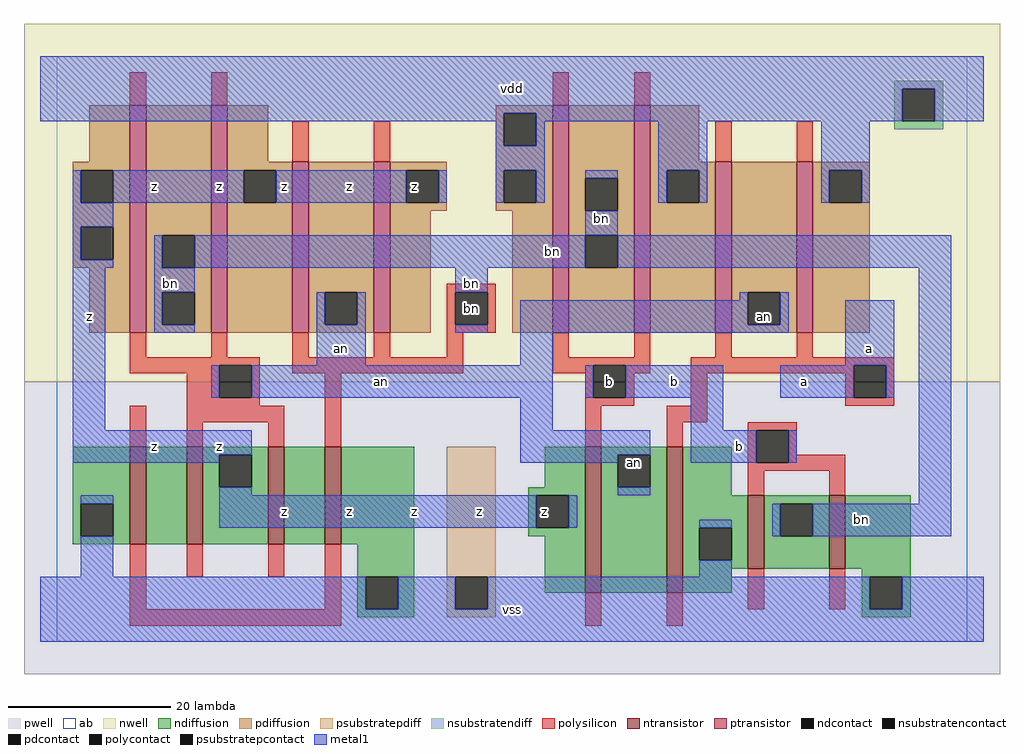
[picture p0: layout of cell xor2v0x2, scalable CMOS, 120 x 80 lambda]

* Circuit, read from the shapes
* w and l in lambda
.subckt xor2v0x2 a an b bn vdd vss z
M1 n1 bn vss vss nfet w=12 l=2
M2 z an n1 vss nfet w=12 l=2
M3 n2 an z vss nfet w=12 l=2
M4 vss bn n2 vss nfet w=12 l=2
M5 an b z vss nfet w=18 l=2
M6 vss a an vss nfet w=18 l=2
M7 bn b vss vss nfet w=9 l=2 m=2
M8 bn an z vdd pfet w=28 l=2 m=2
M9 an bn z vdd pfet w=21 l=2 m=2
M10 bn b vdd vdd pfet w=28 l=2 m=2
M11 an a vdd vdd pfet w=21 l=2 m=2
.ends

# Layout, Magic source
magic
tech scmos
<< ab >>
rect 0 0 112 72
<< pwell >>
rect -4 -4 116 32
<< nwell >>
rect -4 32 116 76
<< polysilicon >>
rect 9 66 11 70
rect 19 66 21 70
rect 61 66 63 70
rect 71 66 73 70
rect 29 59 31 64
rect 39 59 41 64
rect 48 43 54 44
rect 48 39 49 43
rect 53 39 54 43
rect 48 38 54 39
rect 81 59 83 64
rect 91 59 93 64
rect 9 35 11 38
rect 19 35 21 38
rect 29 35 31 38
rect 39 35 41 38
rect 48 35 50 38
rect 9 34 25 35
rect 9 33 20 34
rect 16 30 20 33
rect 24 30 25 34
rect 29 33 50 35
rect 61 35 63 38
rect 71 35 73 38
rect 81 35 83 38
rect 91 35 93 38
rect 61 34 73 35
rect 61 33 66 34
rect 16 29 25 30
rect 9 24 11 29
rect 16 27 28 29
rect 16 24 18 27
rect 26 24 28 27
rect 33 24 35 33
rect 65 30 66 33
rect 70 33 73 34
rect 78 34 103 35
rect 78 33 98 34
rect 70 30 71 33
rect 65 29 71 30
rect 78 29 80 33
rect 97 30 98 33
rect 102 30 103 34
rect 97 29 103 30
rect 65 24 67 29
rect 75 27 80 29
rect 75 24 77 27
rect 85 26 91 27
rect 9 4 11 12
rect 16 8 18 12
rect 26 8 28 12
rect 33 4 35 12
rect 9 2 35 4
rect 85 22 86 26
rect 90 23 91 26
rect 90 22 97 23
rect 85 21 97 22
rect 85 18 87 21
rect 95 18 97 21
rect 65 2 67 6
rect 75 2 77 6
rect 85 4 87 9
rect 95 4 97 9
<< ndiffusion >>
rect 2 17 9 24
rect 2 13 3 17
rect 7 13 9 17
rect 2 12 9 13
rect 11 12 16 24
rect 18 23 26 24
rect 18 19 20 23
rect 24 19 26 23
rect 18 12 26 19
rect 28 12 33 24
rect 35 12 44 24
rect 37 8 44 12
rect 37 4 38 8
rect 42 4 44 8
rect 37 3 44 4
rect 60 19 65 24
rect 58 18 65 19
rect 58 14 59 18
rect 63 14 65 18
rect 58 13 65 14
rect 60 6 65 13
rect 67 23 75 24
rect 67 19 69 23
rect 73 19 75 23
rect 67 6 75 19
rect 77 18 83 24
rect 77 14 85 18
rect 77 10 79 14
rect 83 10 85 14
rect 77 9 85 10
rect 87 17 95 18
rect 87 13 89 17
rect 93 13 95 17
rect 87 9 95 13
rect 97 9 105 18
rect 77 6 83 9
rect 99 8 105 9
rect 99 4 100 8
rect 104 4 105 8
rect 99 3 105 4
<< pdiffusion >>
rect 4 59 9 66
rect 2 58 9 59
rect 2 54 3 58
rect 7 54 9 58
rect 2 51 9 54
rect 2 47 3 51
rect 7 47 9 51
rect 2 46 9 47
rect 4 38 9 46
rect 11 50 19 66
rect 11 46 13 50
rect 17 46 19 50
rect 11 43 19 46
rect 11 39 13 43
rect 17 39 19 43
rect 11 38 19 39
rect 21 59 26 66
rect 54 65 61 66
rect 54 61 55 65
rect 59 61 61 65
rect 21 58 29 59
rect 21 54 23 58
rect 27 54 29 58
rect 21 38 29 54
rect 31 43 39 59
rect 31 39 33 43
rect 37 39 39 43
rect 31 38 39 39
rect 41 58 48 59
rect 41 54 43 58
rect 47 54 48 58
rect 41 53 48 54
rect 54 58 61 61
rect 54 54 55 58
rect 59 54 61 58
rect 54 53 61 54
rect 41 38 46 53
rect 56 38 61 53
rect 63 57 71 66
rect 63 53 65 57
rect 69 53 71 57
rect 63 50 71 53
rect 63 46 65 50
rect 69 46 71 50
rect 63 38 71 46
rect 73 59 79 66
rect 73 58 81 59
rect 73 54 75 58
rect 79 54 81 58
rect 73 38 81 54
rect 83 43 91 59
rect 83 39 85 43
rect 89 39 91 43
rect 83 38 91 39
rect 93 58 100 59
rect 93 54 95 58
rect 99 54 100 58
rect 93 38 100 54
<< metal1 >>
rect -2 68 114 72
rect -2 65 104 68
rect -2 64 55 65
rect 54 61 55 64
rect 59 64 104 65
rect 108 64 114 68
rect 59 61 60 64
rect 54 58 60 61
rect 74 58 80 64
rect 2 54 3 58
rect 7 54 23 58
rect 27 54 43 58
rect 47 54 48 58
rect 54 54 55 58
rect 59 54 60 58
rect 65 57 69 58
rect 2 51 7 54
rect 2 47 3 51
rect 74 54 75 58
rect 79 54 80 58
rect 94 58 100 64
rect 94 54 95 58
rect 99 54 100 58
rect 65 50 69 53
rect 2 46 7 47
rect 12 46 13 50
rect 17 46 65 50
rect 69 46 110 50
rect 2 26 6 46
rect 12 43 17 46
rect 49 43 53 46
rect 12 39 13 43
rect 12 38 17 39
rect 32 39 33 43
rect 37 39 38 43
rect 32 34 38 39
rect 84 42 85 43
rect 49 38 53 39
rect 57 39 85 42
rect 89 39 90 43
rect 57 38 90 39
rect 57 34 61 38
rect 97 34 103 42
rect 19 30 20 34
rect 24 30 61 34
rect 65 30 66 34
rect 70 30 82 34
rect 89 30 98 34
rect 102 30 103 34
rect 57 26 61 30
rect 78 26 82 30
rect 2 23 24 26
rect 2 22 20 23
rect 57 23 73 26
rect 57 22 69 23
rect 20 18 24 19
rect 78 22 86 26
rect 90 22 91 26
rect 69 18 73 19
rect 3 17 7 18
rect 20 14 59 18
rect 63 14 64 18
rect 106 17 110 46
rect 79 14 83 15
rect 3 8 7 13
rect 88 13 89 17
rect 93 13 110 17
rect 79 8 83 10
rect -2 4 38 8
rect 42 4 49 8
rect 53 4 100 8
rect 104 4 114 8
rect -2 0 114 4
<< ntransistor >>
rect 9 12 11 24
rect 16 12 18 24
rect 26 12 28 24
rect 33 12 35 24
rect 65 6 67 24
rect 75 6 77 24
rect 85 9 87 18
rect 95 9 97 18
<< ptransistor >>
rect 9 38 11 66
rect 19 38 21 66
rect 29 38 31 59
rect 39 38 41 59
rect 61 38 63 66
rect 71 38 73 66
rect 81 38 83 59
rect 91 38 93 59
<< polycontact >>
rect 49 39 53 43
rect 20 30 24 34
rect 66 30 70 34
rect 98 30 102 34
rect 86 22 90 26
<< ndcontact >>
rect 3 13 7 17
rect 20 19 24 23
rect 38 4 42 8
rect 59 14 63 18
rect 69 19 73 23
rect 79 10 83 14
rect 89 13 93 17
rect 100 4 104 8
<< pdcontact >>
rect 3 54 7 58
rect 3 47 7 51
rect 13 46 17 50
rect 13 39 17 43
rect 55 61 59 65
rect 23 54 27 58
rect 33 39 37 43
rect 43 54 47 58
rect 55 54 59 58
rect 65 53 69 57
rect 65 46 69 50
rect 75 54 79 58
rect 85 39 89 43
rect 95 54 99 58
<< psubstratepcontact >>
rect 49 4 53 8
<< nsubstratencontact >>
rect 104 64 108 68
<< psubstratepdiff >>
rect 48 8 54 24
rect 48 4 49 8
rect 53 4 54 8
rect 48 3 54 4
<< nsubstratendiff >>
rect 103 68 109 69
rect 103 64 104 68
rect 108 64 109 68
rect 103 63 109 64
<< labels >>
rlabel polycontact 51 41 51 41 6 bn
rlabel metal1 12 24 12 24 6 z
rlabel metal1 4 40 4 40 6 z
rlabel metal1 14 44 14 44 6 bn
rlabel metal1 12 56 12 56 6 z
rlabel metal1 36 16 36 16 6 z
rlabel metal1 28 16 28 16 6 z
rlabel metal1 20 24 20 24 6 z
rlabel metal1 35 36 35 36 6 an
rlabel metal1 36 56 36 56 6 z
rlabel metal1 28 56 28 56 6 z
rlabel metal1 20 56 20 56 6 z
rlabel metal1 56 4 56 4 6 vss
rlabel ndcontact 60 16 60 16 6 z
rlabel metal1 52 16 52 16 6 z
rlabel metal1 44 16 44 16 6 z
rlabel metal1 40 32 40 32 6 an
rlabel metal1 51 44 51 44 6 bn
rlabel pdcontact 44 56 44 56 6 z
rlabel metal1 56 68 56 68 6 vdd
rlabel ndcontact 71 22 71 22 6 an
rlabel metal1 84 24 84 24 6 b
rlabel metal1 76 32 76 32 6 b
rlabel polycontact 68 32 68 32 6 b
rlabel pdcontact 87 40 87 40 6 an
rlabel metal1 67 52 67 52 6 bn
rlabel metal1 99 15 99 15 6 bn
rlabel metal1 92 32 92 32 6 a
rlabel metal1 100 36 100 36 6 a
rlabel metal1 61 48 61 48 6 bn
<< end >>
